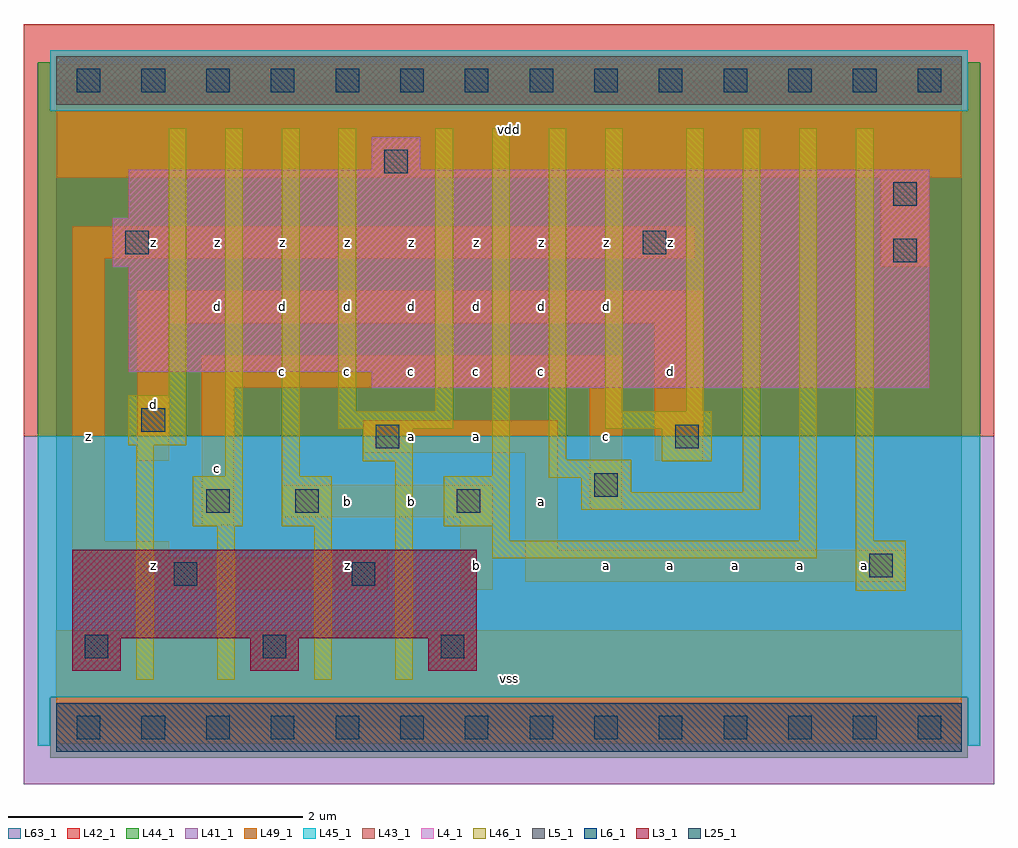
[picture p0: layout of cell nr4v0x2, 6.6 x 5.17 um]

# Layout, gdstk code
import gdstk
lib = gdstk.Library(unit=1e-6, precision=1e-09)
def R(c, l, rs):  # rectangles x0, y0, x1, y1
    for r in rs: c.add(gdstk.rectangle(r[:2], r[2:], *l))
def A(c, l, x, y, w, h, nx, ny, dx, dy):  # array of equal rectangles
    R(c, l, [(x+i*dx, y+j*dy, x+i*dx+w, y+j*dy+h) for i in range(nx) for j in range(ny)])
L3_1 = (3, 1)
L4_1 = (4, 1)
L5_1 = (5, 1)
L6_1 = (6, 1)
L25_1 = (25, 1)
L41_1 = (41, 1)
L42_1 = (42, 1)
L43_1 = (43, 1)
L44_1 = (44, 1)
L45_1 = (45, 1)
L46_1 = (46, 1)
L49_1 = (49, 1)
L63_1 = (63, 1)

nr4v0x2 = lib.new_cell('nr4v0x2')
A(nr4v0x2, L3_1, 0.11, 0.385, 0.33, 0.22, 3, 1, 1.21, 0)
R(nr4v0x2, L3_1, [(0.11,0.605,2.86,1.21)])
R(nr4v0x2, L4_1, [(2.145,2.31,5.94,2.42), (0.495,2.42,5.94,3.135), (0.385,3.135,5.94,3.465), (0.495,3.465,5.94,3.795), (2.145,3.795,2.475,4.015)])
R(nr4v0x2, L5_1, [(0,4.235,6.16,4.565)])
R(nr4v0x2, L6_1, [(0,-0.165,6.16,0.165)])
A(nr4v0x2, L25_1, 0.14, -0.08, 0.16, 0.16, 14, 2, 0.44, 4.4)
A(nr4v0x2, L25_1, 0.195, 0.47, 0.16, 0.16, 3, 1, 1.21, 0)
R(nr4v0x2, L25_1, [(0.8,0.965,0.96,1.125), (2.01,0.965,2.17,1.125), (5.53,1.02,5.69,1.18), (1.02,1.46,1.18,1.62), (1.625,1.46,1.785,1.62), (2.725,1.46,2.885,1.62), (3.66,1.57,3.82,1.73), (2.175,1.9,2.335,2.06), (4.21,1.9,4.37,2.06), (0.58,2.01,0.74,2.17), (5.695,3.165,5.855,3.325), (0.47,3.22,0.63,3.38), (3.99,3.22,4.15,3.38), (5.695,3.55,5.855,3.71), (2.23,3.77,2.39,3.93)])
R(nr4v0x2, L41_1, [(-0.22,-0.385,6.38,1.98)])
R(nr4v0x2, L42_1, [(-0.22,1.98,6.38,4.785)])
A(nr4v0x2, L43_1, 0.11, 0.385, 0.33, 0.22, 3, 1, 1.21, 0)
R(nr4v0x2, L43_1, [(0,-0.165,6.16,0.165), (0.11,0.605,2.86,1.21), (2.145,2.31,5.94,2.42), (0.495,2.42,5.94,3.135), (0.385,3.135,5.94,3.465), (0.495,3.465,5.94,3.795), (2.145,3.795,2.475,4.015), (0,4.235,6.16,4.565)])
R(nr4v0x2, L44_1, [(-0.04,-0.205,6.2,0.205), (-0.125,1.98,6.285,4.195), (-0.125,4.195,-0.04,4.525), (6.2,4.195,6.285,4.525)])
R(nr4v0x2, L45_1, [(-0.125,-0.125,-0.04,0.205), (6.2,-0.125,6.285,0.205), (-0.125,0.205,6.285,1.98), (-0.04,4.195,6.2,4.605)])
R(nr4v0x2, L46_1, [(0.545,0.325,0.665,1.92), (1.095,0.325,1.215,1.37), (1.755,0.325,1.875,1.37), (2.305,0.325,2.425,1.81), (5.44,0.93,5.78,1.27), (2.965,1.15,5.175,1.27), (2.965,1.27,3.085,1.37), (5.055,1.27,5.175,4.075), (5.44,1.27,5.56,4.075), (0.93,1.37,1.27,1.71), (1.535,1.37,1.875,1.71), (2.635,1.37,3.085,1.71), (3.57,1.48,4.79,1.6), (3.57,1.6,3.91,1.7), (4.67,1.6,4.79,4.075), (3.35,1.7,3.91,1.82), (1.15,1.71,1.27,4.075), (1.535,1.71,1.655,4.075), (2.965,1.71,3.085,4.075), (2.085,1.81,2.425,2.03), (4.12,1.81,4.46,2.03), (3.35,1.82,3.47,4.075), (0.49,1.92,0.885,2.26), (1.92,2.03,2.7,2.15), (3.735,2.03,4.46,2.15), (1.92,2.15,2.04,4.075), (2.58,2.15,2.7,4.075), (3.735,2.15,3.855,4.075), (4.285,2.15,4.405,4.075), (0.765,2.26,0.885,4.075)])
R(nr4v0x2, L49_1, [(0,-0.11,6.16,0.66), (0.11,0.935,2.255,1.155), (2.75,0.935,2.97,1.43), (3.19,0.99,5.775,1.21), (0.11,1.155,0.77,1.265), (1.815,1.155,2.255,1.21), (3.19,1.21,3.41,1.87), (0.11,1.265,0.33,3.19), (0.99,1.375,1.21,2.31), (1.54,1.43,2.97,1.65), (3.63,1.485,3.85,2.31), (0.55,1.815,0.77,2.75), (4.07,1.815,4.4,2.75), (2.09,1.87,3.41,2.09), (0.99,2.31,3.85,2.53), (0.55,2.75,4.4,2.97), (5.61,3.135,5.94,3.74), (0.11,3.19,4.345,3.41), (0,3.74,6.16,4.51)])
R(nr4v0x2, L63_1, [(0,0,6.16,4.4)])
nr4v0x2.add(gdstk.Label('z', (0.66,1.1), layer=49, texttype=1))
nr4v0x2.add(gdstk.Label('z', (0.22,1.98), layer=49, texttype=1))
nr4v0x2.add(gdstk.Label('d', (0.66,2.2), layer=49, texttype=1))
nr4v0x2.add(gdstk.Label('z', (0.66,3.3), layer=49, texttype=1))
nr4v0x2.add(gdstk.Label('z', (1.98,1.1), layer=49, texttype=1))
nr4v0x2.add(gdstk.Label('b', (1.98,1.54), layer=49, texttype=1))
nr4v0x2.add(gdstk.Label('c', (1.1,1.76), layer=49, texttype=1))
nr4v0x2.add(gdstk.Label('c', (1.54,2.42), layer=49, texttype=1))
nr4v0x2.add(gdstk.Label('c', (1.98,2.42), layer=49, texttype=1))
nr4v0x2.add(gdstk.Label('d', (1.54,2.86), layer=49, texttype=1))
nr4v0x2.add(gdstk.Label('d', (1.98,2.86), layer=49, texttype=1))
nr4v0x2.add(gdstk.Label('d', (1.1,2.86), layer=49, texttype=1))
nr4v0x2.add(gdstk.Label('z', (1.1,3.3), layer=49, texttype=1))
nr4v0x2.add(gdstk.Label('z', (1.54,3.3), layer=49, texttype=1))
nr4v0x2.add(gdstk.Label('z', (1.98,3.3), layer=49, texttype=1))
nr4v0x2.add(gdstk.Label('vss', (3.08,0.33), layer=49, texttype=1))
nr4v0x2.add(gdstk.Label('b', (2.42,1.54), layer=49, texttype=1))
nr4v0x2.add(gdstk.Label('b', (2.86,1.1), layer=49, texttype=1))
nr4v0x2.add(gdstk.Label('a', (3.3,1.54), layer=49, texttype=1))
nr4v0x2.add(gdstk.Label('a', (2.42,1.98), layer=49, texttype=1))
nr4v0x2.add(gdstk.Label('c', (2.42,2.42), layer=49, texttype=1))
nr4v0x2.add(gdstk.Label('a', (2.86,1.98), layer=49, texttype=1))
nr4v0x2.add(gdstk.Label('c', (2.86,2.42), layer=49, texttype=1))
nr4v0x2.add(gdstk.Label('c', (3.3,2.42), layer=49, texttype=1))
nr4v0x2.add(gdstk.Label('d', (2.86,2.86), layer=49, texttype=1))
nr4v0x2.add(gdstk.Label('d', (3.3,2.86), layer=49, texttype=1))
nr4v0x2.add(gdstk.Label('d', (2.42,2.86), layer=49, texttype=1))
nr4v0x2.add(gdstk.Label('z', (2.42,3.3), layer=49, texttype=1))
nr4v0x2.add(gdstk.Label('z', (2.86,3.3), layer=49, texttype=1))
nr4v0x2.add(gdstk.Label('z', (3.3,3.3), layer=49, texttype=1))
nr4v0x2.add(gdstk.Label('vdd', (3.08,4.07), layer=49, texttype=1))
nr4v0x2.add(gdstk.Label('a', (3.74,1.1), layer=49, texttype=1))
nr4v0x2.add(gdstk.Label('a', (4.18,1.1), layer=49, texttype=1))
nr4v0x2.add(gdstk.Label('a', (4.62,1.1), layer=49, texttype=1))
nr4v0x2.add(gdstk.Label('c', (3.74,1.98), layer=49, texttype=1))
nr4v0x2.add(gdstk.Label('d', (4.18,2.42), layer=49, texttype=1))
nr4v0x2.add(gdstk.Label('d', (3.74,2.86), layer=49, texttype=1))
nr4v0x2.add(gdstk.Label('z', (3.74,3.3), layer=49, texttype=1))
nr4v0x2.add(gdstk.Label('z', (4.18,3.3), layer=49, texttype=1))
nr4v0x2.add(gdstk.Label('a', (5.06,1.1), layer=49, texttype=1))
nr4v0x2.add(gdstk.Label('a', (5.5,1.1), layer=49, texttype=1))

lib.write_gds('nr4v0x2.gds')
